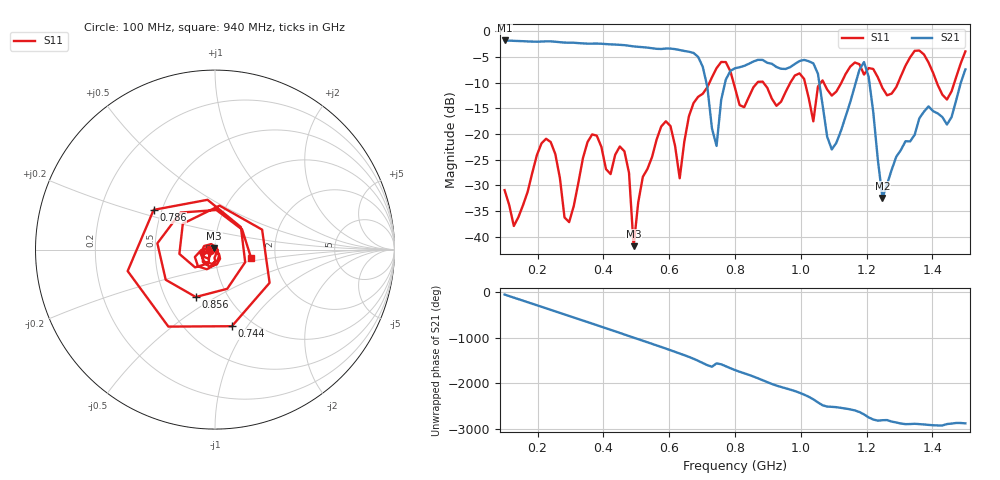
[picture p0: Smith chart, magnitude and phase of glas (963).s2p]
! NanoVNA-App
! Date: 2025-09-25 16:02:58
! Start: 100MHz Stop: 1,5GHz Points: 101
! S-Parameter data: F S11 S21 S12 S22
# Hz S RI R 50
!  Frequency  S11_Real  S11_Imag  S21_Real  S21_Imag  S12_Real  S12_Imag  S22_Real  S22_Imag
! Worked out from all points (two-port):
!   101 points, 100 MHz to 1.5 GHz, reference 50 ohm
!   highest |S21| = -1.80 dB at 100 MHz (marker M1); lowest = -32.4 dB at 1.248 GHz (marker M2)
!   |S21| within 3 dB of the highest: start of sweep to 684.5 MHz
!   lowest |S11| = -41.8 dB at 492 MHz (marker M3), VSWR 1.02, Z = 49.5 + j0.628 ohm
!   |S11| at or under -10 dB: start of sweep to 722.5 MHz; 795.5 MHz to 867.9 MHz (72.43 MHz wide, 8.71 % of centre); 886.2 MHz to 968.3 MHz (82.09 MHz wide, 8.85 % of centre) (the widest 3 of 7)
!   S12 and S22 are empty: the file has one direction only
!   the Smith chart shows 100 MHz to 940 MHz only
!   S11 on the Smith chart (normalised r, x): 100 MHz: 0.94, -0.01; 744 MHz: 0.81, -0.85; 786 MHz: 0.45, +0.24; 856 MHz: 0.71, -0.41; 940 MHz: 1.49, -0.14
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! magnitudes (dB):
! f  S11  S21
! 100 MHz  -30.9  -1.8
! 128 MHz  -37.9  -1.9
! 226 MHz  -20.9  -2.0
! 296 MHz  -37.1  -2.2
! 338 MHz  -24.7  -2.4
! 464 MHz  -23.4  -2.7
! 492 MHz  -41.8  -3.0
! 576 MHz  -18.5  -3.5
! 632 MHz  -28.6  -3.7
! 702 MHz  -12.2  -6.9
! 744 MHz  -7.2  -22.3
! 786 MHz  -7.8  -7.7
! 800 MHz  -11.0  -7.2
! 856 MHz  -10.9  -5.9
! 940 MHz  -13.7  -7.3
! 996 MHz  -8.2  -5.8
! 1.038 GHz  -17.5  -6.3
! 1.094 GHz  -12.5  -23.0
! 1.192 GHz  -8.4  -6.0
! 1.248 GHz  -11.0  -32.4
! 1.276 GHz  -12.1  -27.0
! 1.5 GHz  -3.9  -7.4
